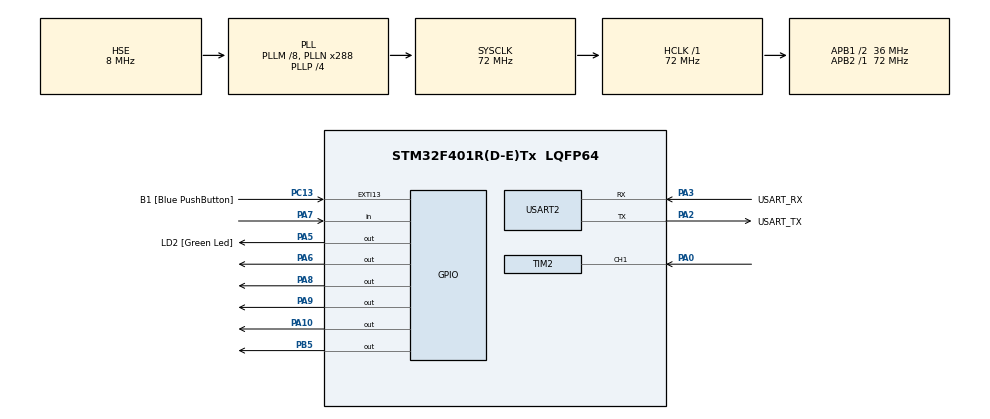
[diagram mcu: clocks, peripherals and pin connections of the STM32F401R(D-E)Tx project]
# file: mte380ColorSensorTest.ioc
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Mcu.Family=STM32F4
Mcu.Name=STM32F401R(D-E)Tx
Mcu.Package=LQFP64
NVIC.PriorityGroup=NVIC_PRIORITYGROUP_0
NVIC.TIM2_IRQn=true\:0\:0\:false\:false\:true\:true\:true\:true
PA0-WKUP.Signal=S_TIM2_CH1_ETR
PA10.Signal=GPIO_Output
PA13.GPIO_Label=TMS
PA13.Mode=Serial_Wire
PA13.Signal=SYS_JTMS-SWDIO
PA14.GPIO_Label=TCK
PA14.Mode=Serial_Wire
PA14.Signal=SYS_JTCK-SWCLK
PA2.GPIO_Label=USART_TX
PA2.GPIO_Mode=GPIO_MODE_AF_PP
PA2.GPIO_PuPd=GPIO_NOPULL
PA2.GPIO_Speed=GPIO_SPEED_FREQ_LOW
PA2.Mode=Asynchronous
PA2.Signal=USART2_TX
PA3.GPIO_Label=USART_RX
PA3.GPIO_Mode=GPIO_MODE_AF_PP
PA3.GPIO_PuPd=GPIO_NOPULL
PA3.GPIO_Speed=GPIO_SPEED_FREQ_LOW
PA3.Mode=Asynchronous
PA3.Signal=USART2_RX
PA5.GPIO_Label=LD2 [Green Led]
PA5.GPIO_Mode=GPIO_MODE_OUTPUT_PP
PA5.GPIO_PuPd=GPIO_NOPULL
PA5.GPIO_Speed=GPIO_SPEED_FREQ_LOW
PA5.Signal=GPIO_Output
PA6.Signal=GPIO_Output
PA7.Signal=GPIO_Input
PA8.Signal=GPIO_Output
PA9.Signal=GPIO_Output
PB3.GPIO_Label=SWO
PB3.Signal=SYS_JTDO-SWO
PB5.Signal=GPIO_Output
PC13-ANTI_TAMP.GPIO_Label=B1 [Blue PushButton]
PC13-ANTI_TAMP.GPIO_ModeDefaultEXTI=GPIO_MODE_IT_FALLING
PC13-ANTI_TAMP.GPIO_PuPd=GPIO_NOPULL
PC13-ANTI_TAMP.Signal=GPXTI13
PC14-OSC32_IN.Mode=LSE-External-Oscillator
PC14-OSC32_IN.Signal=RCC_OSC32_IN
PC15-OSC32_OUT.Mode=LSE-External-Oscillator
PC15-OSC32_OUT.Signal=RCC_OSC32_OUT
PH0\ -\ OSC_IN.Mode=HSE-External-Oscillator
PH0\ -\ OSC_IN.Signal=RCC_OSC_IN
PH1\ -\ OSC_OUT.Mode=HSE-External-Oscillator
PH1\ -\ OSC_OUT.Signal=RCC_OSC_OUT
ProjectManager.HeapSize=0x200
ProjectManager.StackSize=0x400
ProjectManager.TargetToolchain=STM32CubeIDE
RCC.48MHZClocksFreq_Value=41142857.14285714
RCC.AHBFreq_Value=72000000
RCC.APB1CLKDivider=RCC_HCLK_DIV2
RCC.APB1Freq_Value=36000000
RCC.APB1TimFreq_Value=72000000
RCC.APB2Freq_Value=72000000
RCC.APB2TimFreq_Value=72000000
RCC.CortexFreq_Value=72000000
RCC.HCLKFreq_Value=72000000
RCC.HSE_VALUE=8000000
RCC.HSI_VALUE=16000000
RCC.PLLM=8
RCC.PLLN=288
RCC.PLLP=RCC_PLLP_DIV4
RCC.PLLQ=7
RCC.PLLSourceVirtual=RCC_PLLSOURCE_HSE
RCC.SYSCLKFreq_VALUE=72000000
RCC.SYSCLKSource=RCC_SYSCLKSOURCE_PLLCLK
RCC.VCOOutputFreq_Value=288000000
SH.S_TIM2_CH1_ETR.0=TIM2_CH1,Input_Capture1_from_TI1
TIM1.Prescaler=71
TIM2.AutoReloadPreload=TIM_AUTORELOAD_PRELOAD_ENABLE
TIM2.Channel-Input_Capture1_from_TI1=TIM_CHANNEL_1
TIM2.Period=65535
USART2.VirtualMode=VM_ASYNC
VP_TIM1_VS_ClockSourceINT.Mode=Internal
VP_TIM2_VS_ClockSourceINT.Mode=Internal
board=NUCLEO-F401RE

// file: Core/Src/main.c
/* USER CODE BEGIN Header */
/**
  ******************************************************************************
  * @file           : main.c
  * @brief          : Main program body
  ******************************************************************************
  * @attention
  *
  * Copyright (c) 2024 STMicroelectronics.
  * All rights reserved.
  *
  * This software is licensed under terms that can be found in the LICENSE file
  * in the root directory of this software component.
  * If no LICENSE file comes with this software, it is provided AS-IS.
  *
  ******************************************************************************
  */
/* USER CODE END Header */
#include "main.h"

/* USER CODE BEGIN PD */
#define IDLE   0
#define DONE   1
#define F_CLK  72000000UL

#define TRIG_PIN GPIO_PIN_6
#define TRIG_PORT GPIOA
#define ECHO_PIN GPIO_PIN_7
#define ECHO_PORT GPIOA
/* USER CODE END PD */

TIM_HandleTypeDef htim1;
TIM_HandleTypeDef htim2;

UART_HandleTypeDef huart2;

/* USER CODE BEGIN PV */
volatile uint8_t gu8_State = IDLE;
volatile uint8_t gu8_MSG[35] = {'\0'};
volatile uint32_t gu32_T1 = 0;
volatile uint32_t gu32_T2 = 0;
volatile uint32_t gu32_Ticks = 0;
volatile uint16_t gu16_TIM2_OVC = 0;
volatile uint32_t gu32_Freq = 0;

uint32_t pMillis;
uint32_t val1 = 0;
uint32_t val2 = 0;
uint16_t distance  = 0;
/* USER CODE END PV */

void SystemClock_Config(void);
static void MX_GPIO_Init(void);
static void MX_USART2_UART_Init(void);
static void MX_TIM2_Init(void);
static void MX_TIM1_Init(void);

/* USER CODE BEGIN 0 */
void HAL_TIM_IC_CaptureCallback(TIM_HandleTypeDef* htim)
{
    if(gu8_State == IDLE)
    {
        gu32_T1 = TIM2->CCR1;
        gu16_TIM2_OVC = 0;
        gu8_State = DONE;
    }
    else if(gu8_State == DONE)
    {
        gu32_T2 = TIM2->CCR1;
        gu32_Ticks = (gu32_T2 + (gu16_TIM2_OVC * 65536)) - gu32_T1;
        gu32_Freq = (uint32_t)(F_CLK/gu32_Ticks);
        if(gu32_Freq != 0)
        {
          sprintf(gu8_MSG, "Frequency = %lu Hz\n\r", gu32_Freq);
          HAL_UART_Transmit(&huart2, gu8_MSG, sizeof(gu8_MSG), 100);
        }
        gu8_State = IDLE;
    }
}

void HAL_TIM_PeriodElapsedCallback(TIM_HandleTypeDef* htim)
{
    gu16_TIM2_OVC++;
}
/* USER CODE END 0 */

int main(void)
{

  /* MCU Configuration--------------------------------------------------------*/

  /* Reset of all peripherals, Initializes the Flash interface and the Systick. */
  HAL_Init();

  /* Configure the system clock */
  SystemClock_Config();

  /* Initialize all configured peripherals */
  MX_GPIO_Init();
  MX_USART2_UART_Init();
  MX_TIM2_Init();
  MX_TIM1_Init();
  /* USER CODE BEGIN 2 */
  HAL_TIM_Base_Start_IT(&htim2);
  HAL_TIM_IC_Start_IT(&htim2, TIM_CHANNEL_1);

  HAL_GPIO_WritePin(GPIOA, GPIO_PIN_9, GPIO_PIN_RESET); // PA9 - D8 - S0
  HAL_GPIO_WritePin(GPIOA, GPIO_PIN_8, GPIO_PIN_SET); // PA8 - D7 - S1
  HAL_GPIO_WritePin(GPIOB, GPIO_PIN_5, GPIO_PIN_RESET); // PB5 - D4 -S2
  HAL_GPIO_WritePin(GPIOA, GPIO_PIN_10, GPIO_PIN_RESET);// PA10 - D2 - S3

  HAL_TIM_Base_Start(&htim1);
  HAL_GPIO_WritePin(TRIG_PORT, TRIG_PIN, GPIO_PIN_RESET);
  /* USER CODE END 2 */

  /* Infinite loop */
  /* USER CODE BEGIN WHILE */
  while (1)
  {
	HAL_GPIO_WritePin(TRIG_PORT, TRIG_PIN, GPIO_PIN_SET);
	__HAL_TIM_SET_COUNTER(&htim1, 0);
	while (__HAL_TIM_GET_COUNTER (&htim1) < 10);  // wait for 10 us
	HAL_GPIO_WritePin(TRIG_PORT, TRIG_PIN, GPIO_PIN_RESET);

	pMillis = HAL_GetTick();
	while (!(HAL_GPIO_ReadPin (ECHO_PORT, ECHO_PIN)) && pMillis + 10 >  HAL_GetTick());
	val1 = __HAL_TIM_GET_COUNTER (&htim1);

	pMillis = HAL_GetTick();
	while ((HAL_GPIO_ReadPin (ECHO_PORT, ECHO_PIN)) && pMillis + 50 > HAL_GetTick());
	val2 = __HAL_TIM_GET_COUNTER (&htim1);

	distance = (val2-val1)* 0.034/2;

	sprintf(gu8_MSG, "Distance = %lu m\n\r", distance);
	HAL_UART_Transmit(&huart2, gu8_MSG, sizeof(gu8_MSG), 100);
	/* USER CODE END WHILE */

  }
}

void SystemClock_Config(void)
{
  RCC_OscInitTypeDef RCC_OscInitStruct = {0};
  RCC_ClkInitTypeDef RCC_ClkInitStruct = {0};

  /** Configure the main internal regulator output voltage
  */
  __HAL_RCC_PWR_CLK_ENABLE();
  __HAL_PWR_VOLTAGESCALING_CONFIG(PWR_REGULATOR_VOLTAGE_SCALE2);

  /** Initializes the RCC Oscillators according to the specified parameters
  * in the RCC_OscInitTypeDef structure.
  */
  RCC_OscInitStruct.OscillatorType = RCC_OSCILLATORTYPE_HSE;
  RCC_OscInitStruct.HSEState = RCC_HSE_ON;
  RCC_OscInitStruct.PLL.PLLState = RCC_PLL_ON;
  RCC_OscInitStruct.PLL.PLLSource = RCC_PLLSOURCE_HSE;
  RCC_OscInitStruct.PLL.PLLM = 8;
  RCC_OscInitStruct.PLL.PLLN = 288;
  RCC_OscInitStruct.PLL.PLLP = RCC_PLLP_DIV4;
  RCC_OscInitStruct.PLL.PLLQ = 7;
  if (HAL_RCC_OscConfig(&RCC_OscInitStruct) != HAL_OK)
  {
    Error_Handler();
  }

  /** Initializes the CPU, AHB and APB buses clocks
  */
  RCC_ClkInitStruct.ClockType = RCC_CLOCKTYPE_HCLK|RCC_CLOCKTYPE_SYSCLK
                              |RCC_CLOCKTYPE_PCLK1|RCC_CLOCKTYPE_PCLK2;
  RCC_ClkInitStruct.SYSCLKSource = RCC_SYSCLKSOURCE_PLLCLK;
  RCC_ClkInitStruct.AHBCLKDivider = RCC_SYSCLK_DIV1;
  RCC_ClkInitStruct.APB1CLKDivider = RCC_HCLK_DIV2;
  RCC_ClkInitStruct.APB2CLKDivider = RCC_HCLK_DIV1;

  if (HAL_RCC_ClockConfig(&RCC_ClkInitStruct, FLASH_LATENCY_2) != HAL_OK)
  {
    Error_Handler();
  }
}

static void MX_TIM1_Init(void)
{

  TIM_ClockConfigTypeDef sClockSourceConfig = {0};
  TIM_MasterConfigTypeDef sMasterConfig = {0};

  htim1.Instance = TIM1;
  htim1.Init.Prescaler = 71;
  htim1.Init.CounterMode = TIM_COUNTERMODE_UP;
  htim1.Init.Period = 65535;
  htim1.Init.ClockDivision = TIM_CLOCKDIVISION_DIV1;
  htim1.Init.RepetitionCounter = 0;
  htim1.Init.AutoReloadPreload = TIM_AUTORELOAD_PRELOAD_DISABLE;
  if (HAL_TIM_Base_Init(&htim1) != HAL_OK)
  {
    Error_Handler();
  }
  sClockSourceConfig.ClockSource = TIM_CLOCKSOURCE_INTERNAL;
  if (HAL_TIM_ConfigClockSource(&htim1, &sClockSourceConfig) != HAL_OK)
  {
    Error_Handler();
  }
  sMasterConfig.MasterOutputTrigger = TIM_TRGO_RESET;
  sMasterConfig.MasterSlaveMode = TIM_MASTERSLAVEMODE_DISABLE;
  if (HAL_TIMEx_MasterConfigSynchronization(&htim1, &sMasterConfig) != HAL_OK)
  {
    Error_Handler();
  }

}

static void MX_TIM2_Init(void)
{

  TIM_ClockConfigTypeDef sClockSourceConfig = {0};
  TIM_MasterConfigTypeDef sMasterConfig = {0};
  TIM_IC_InitTypeDef sConfigIC = {0};

  htim2.Instance = TIM2;
  htim2.Init.Prescaler = 0;
  htim2.Init.CounterMode = TIM_COUNTERMODE_UP;
  htim2.Init.Period = 65535;
  htim2.Init.ClockDivision = TIM_CLOCKDIVISION_DIV1;
  htim2.Init.AutoReloadPreload = TIM_AUTORELOAD_PRELOAD_ENABLE;
  if (HAL_TIM_Base_Init(&htim2) != HAL_OK)
  {
    Error_Handler();
  }
  sClockSourceConfig.ClockSource = TIM_CLOCKSOURCE_INTERNAL;
  if (HAL_TIM_ConfigClockSource(&htim2, &sClockSourceConfig) != HAL_OK)
  {
    Error_Handler();
  }
  if (HAL_TIM_IC_Init(&htim2) != HAL_OK)
  {
    Error_Handler();
  }
  sMasterConfig.MasterOutputTrigger = TIM_TRGO_RESET;
  sMasterConfig.MasterSlaveMode = TIM_MASTERSLAVEMODE_DISABLE;
  if (HAL_TIMEx_MasterConfigSynchronization(&htim2, &sMasterConfig) != HAL_OK)
  {
    Error_Handler();
  }
  sConfigIC.ICPolarity = TIM_INPUTCHANNELPOLARITY_RISING;
  sConfigIC.ICSelection = TIM_ICSELECTION_DIRECTTI;
  sConfigIC.ICPrescaler = TIM_ICPSC_DIV1;
  sConfigIC.ICFilter = 0;
  if (HAL_TIM_IC_ConfigChannel(&htim2, &sConfigIC, TIM_CHANNEL_1) != HAL_OK)
  {
    Error_Handler();
  }

}

static void MX_USART2_UART_Init(void)
{

  huart2.Instance = USART2;
  huart2.Init.BaudRate = 115200;
  huart2.Init.WordLength = UART_WORDLENGTH_8B;
  huart2.Init.StopBits = UART_STOPBITS_1;
  huart2.Init.Parity = UART_PARITY_NONE;
  huart2.Init.Mode = UART_MODE_TX_RX;
  huart2.Init.HwFlowCtl = UART_HWCONTROL_NONE;
  huart2.Init.OverSampling = UART_OVERSAMPLING_16;
  if (HAL_UART_Init(&huart2) != HAL_OK)
  {
    Error_Handler();
  }

}

static void MX_GPIO_Init(void)
{
  GPIO_InitTypeDef GPIO_InitStruct = {0};

  /* GPIO Ports Clock Enable */
  __HAL_RCC_GPIOC_CLK_ENABLE();
  __HAL_RCC_GPIOH_CLK_ENABLE();
  __HAL_RCC_GPIOA_CLK_ENABLE();
  __HAL_RCC_GPIOB_CLK_ENABLE();

  /*Configure GPIO pin Output Level */
  HAL_GPIO_WritePin(GPIOA, LD2_Pin|GPIO_PIN_6|GPIO_PIN_8|GPIO_PIN_9
                          |GPIO_PIN_10, GPIO_PIN_RESET);

  /*Configure GPIO pin Output Level */
  HAL_GPIO_WritePin(GPIOB, GPIO_PIN_5, GPIO_PIN_RESET);

  /*Configure GPIO pin : B1_Pin */
  GPIO_InitStruct.Pin = B1_Pin;
  GPIO_InitStruct.Mode = GPIO_MODE_IT_FALLING;
  GPIO_InitStruct.Pull = GPIO_NOPULL;
  HAL_GPIO_Init(B1_GPIO_Port, &GPIO_InitStruct);

  /*Configure GPIO pins : LD2_Pin PA6 PA8 PA9
                           PA10 */
  GPIO_InitStruct.Pin = LD2_Pin|GPIO_PIN_6|GPIO_PIN_8|GPIO_PIN_9
                          |GPIO_PIN_10;
  GPIO_InitStruct.Mode = GPIO_MODE_OUTPUT_PP;
  GPIO_InitStruct.Pull = GPIO_NOPULL;
  GPIO_InitStruct.Speed = GPIO_SPEED_FREQ_LOW;
  HAL_GPIO_Init(GPIOA, &GPIO_InitStruct);

  /*Configure GPIO pin : PA7 */
  GPIO_InitStruct.Pin = GPIO_PIN_7;
  GPIO_InitStruct.Mode = GPIO_MODE_INPUT;
  GPIO_InitStruct.Pull = GPIO_NOPULL;
  HAL_GPIO_Init(GPIOA, &GPIO_InitStruct);

  /*Configure GPIO pin : PB5 */
  GPIO_InitStruct.Pin = GPIO_PIN_5;
  GPIO_InitStruct.Mode = GPIO_MODE_OUTPUT_PP;
  GPIO_InitStruct.Pull = GPIO_NOPULL;
  GPIO_InitStruct.Speed = GPIO_SPEED_FREQ_LOW;
  HAL_GPIO_Init(GPIOB, &GPIO_InitStruct);

}

void Error_Handler(void)
{
  __disable_irq();
  while (1)
  {
  }
}
